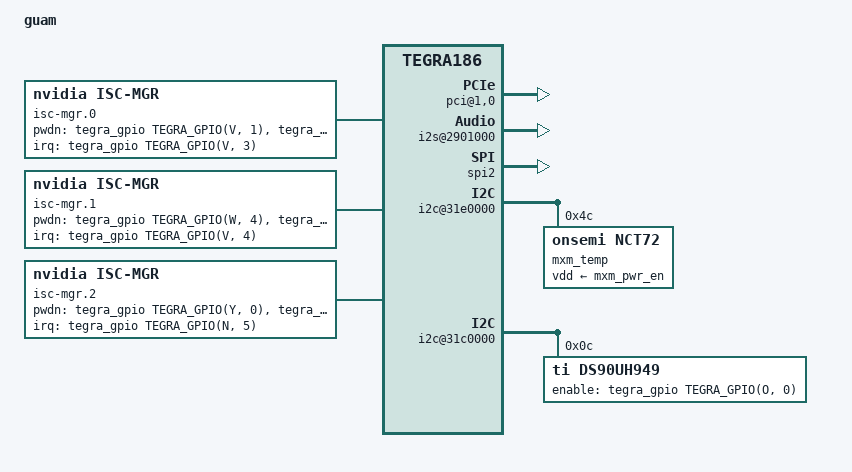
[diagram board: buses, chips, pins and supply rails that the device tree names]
/*
 * tegra186-priv-guam-a-base.dts: guam-a base dts
 * file
 *
 * Copyright (c) 2016-2017, NVIDIA CORPORATION.  All rights reserved.
 *
 * This program is free software; you can redistribute it and/or modify
 * it under the terms of the GNU General Public License as published by
 * the Free Software Foundation; version 2 of the License.
 *
 * This program is distributed in the hope that it will be useful, but WITHOUT
 * ANY WARRANTY; without even the implied warranty of MERCHANTABILITY or
 * FITNESS FOR A PARTICULAR PURPOSE.  See the GNU General Public License for
 * more details.
 */

#include "tegra186-platforms/tegra186-vcm31-fiji-common.dtsi"
#include "tegra186-platforms/tegra186-power-tree-guam-a.dtsi"

/ {
	nvidia,dtsfilename = __FILE__;
	nvidia,boardids = "guam-a:0000";
	nvidia,proc-boardid = "guam-a:0000";
	model = "guam";

	firmware {
		android {
			compatible = "android,firmware";
			hardware = "guam-a";
		};
	};


	/* dGPU support */
	pcie-controller@10003000 {
		pci@1,0 {
			status = "okay";
			nvidia,has-mxm-port;
			nvidia,pwr-gd-gpio =
				<&tegra_gpio TEGRA_GPIO(B, 6) 0>;
		};
		pcie_cool_dev: pcie-cool-dev {
			cooling-min-state = <0>;
			cooling-max-state = <1>;
			#cooling-cells = <2>;
		};
	};

	adma@2930000 {
		status = "okay";
		dma-channels = <10>;
	};

	ahub {
		status = "okay";
		arad@290e400 {
			status = "okay";
		};
	    i2s@2901000 {
	        status = "okay";
	    };
	    i2s@2901100 {
			status = "disabled";
		};
	    i2s@2901200 {
			status = "disabled";
		};
	    i2s@2901300 {
			status = "disabled";
		};
	    i2s@2901400 {
			status = "disabled";
		};
	    i2s@2901500 {
			status = "disabled";
		};
	};
	sound_ref {
		status = "okay";
		compatible = "nvidia,tegra-audio-t186ref-p2382";
		nvidia,model = "tegra186-snd-p2382";
		nvidia,num-clk = <8>;
		nvidia,clk-rates = < 248371200	/* PLLA_x11025_RATE */
				     11289600	/* AUD_MCLK_x11025_RATE */
				     49674240	/* PLLA_OUT0_x11025_RATE */
				     49674240	/* AHUB_x11025_RATE */
				     245760000  /* PLLA_x8000_RATE */
				     12288000	/* AUD_MCLK_x8000_RATE */
				     245760000	/* PLLA_OUT0_x8000_RATE */
				     49152000 >;/* AHUB_x8000_RATE */
		clocks =<&tegra_car TEGRA186_CLK_PLLP_OUT0>,
			<&tegra_car TEGRA186_CLK_PLLA>,
			<&tegra_car TEGRA186_CLK_PLL_A_OUT0>,
			<&tegra_car TEGRA186_CLK_AHUB>,
			<&tegra_car TEGRA186_CLK_CLK_M>,
			<&tegra_car TEGRA186_CLK_AUD_MCLK>;
		clock-names = "pll_p_out1", "pll_a", "pll_a_out0", "ahub", "clk_m",
			"extern1";
		resets = <&tegra_car TEGRA186_RESET_AUD_MCLK>;
		reset-names = "extern1_rst";
		nvidia,num-codec-link = <1>;
		nvidia,num-amx = <0>;
		nvidia,num-adx = <0>;
		nvidia,audio-routing =
			"Headphone-d", "d OUT";
		nvidia,xbar = <&tegra_axbar>;
		nvidia,dai-link-1 {
			link-name = "p2382-audio-dsp-tdm1-1";
			cpu-dai = <&tegra_i2s1>;
			codec-dai = <&spdif_dit0>;
			cpu-dai-name = "I2S1";
			codec-dai-name = "dit-hifi";
			tx-mask = <0xFF>;
			rx-mask = <0xFF>;
			format = "i2s";
			bitclock-slave;
			frame-slave;
			bitclock-noninversion;
			frame-noninversion;
			bit-format = "s16_le";
			bclk_ratio = <1>;
			srate = <44100>;
			num-channel = <2>;
			name-prefix = "d";
		};
	};
	adsp_audio {
		status = "disabled";
	};

	/* CSI-EF */
	isc-mgr.0 {
		compatible = "nvidia,isc-mgr";
		i2c-bus = <1>;
		csi-port = <4>;
		default-power-on;
		pwdn-gpios = < &tegra_gpio TEGRA_GPIO(V, 1) GPIO_ACTIVE_HIGH   /* QD1-PWR-DOWN */
			&tegra_gpio TEGRA_GPIO(I, 0) GPIO_ACTIVE_HIGH   /* PARK-MAIN-CAM-PWR-EN - TegraBall(PI.00) */
			&tegra_gpio TEGRA_GPIO(J, 6) GPIO_ACTIVE_HIGH   /* PARK-RR-CAM-PWR-EN - TegraBall(PJ.06) */
			&tegra_gpio TEGRA_GPIO(B, 4) GPIO_ACTIVE_HIGH   /* PARK-FE-CAM-PWR-EN - Tegra(PB.04)  */
			&tegra_gpio TEGRA_GPIO(Y, 1) GPIO_ACTIVE_HIGH   /* PARK-LR-CAM-PWR-EN - TegraBall(PY.01) */ >;
		runtime-pwrctrl-off;
		interrupt-parent = <&tegra_gpio>;
		interrupts = <TEGRA_GPIO(V, 3) 2>; /* QD1-LOCK : falling edge sensitive */
		status = "okay";
	};
	/* CSI-CD */
	isc-mgr.1 {
		compatible = "nvidia,isc-mgr";
		i2c-bus = <7>;
		csi-port = <2>;
		pwdn-gpios = < &tegra_gpio TEGRA_GPIO(W, 4) GPIO_ACTIVE_HIGH   /* QD2-PWR-DOWN */
			&tegra_gpio TEGRA_GPIO(Y, 5) GPIO_ACTIVE_HIGH   /* PARK-RB-CAM-PWR-EN - Tegra(PY.05) */
			&tegra_gpio TEGRA_GPIO(L, 6) GPIO_ACTIVE_HIGH   /* PARK-LB-CAM-PWR-EN - Tegra(PL.06) */
			&tegra_gpio TEGRA_GPIO(N, 0) GPIO_ACTIVE_HIGH   /* PARK-NAR-CAM-PWR-EN - Tegra(PN.00) */ >;
		default-power-on;
		runtime-pwrctrl-off;
		interrupt-parent = <&tegra_gpio>;
		interrupts = <TEGRA_GPIO(V, 4) 2>; /* QD2-LOCk : falling edge sensitive */
		status = "okay";
	};
	/* CSI-B */
	isc-mgr.2 {
		compatible = "nvidia,isc-mgr";
		i2c-bus = <2>;
		csi-port = <1>;
		default-power-on;
		pwdn-gpios = < &tegra_gpio TEGRA_GPIO(Y, 0) GPIO_ACTIVE_HIGH   /* DD1-PWR-DOWN */
			&tegra_gpio TEGRA_GPIO(I, 4) GPIO_ACTIVE_HIGH   /* PARK-BU-CAM-PWR-EN - TegraBall(PI.04) */
			&tegra_gpio TEGRA_GPIO(I, 6) GPIO_ACTIVE_HIGH   /* PARK-SC-CAM-PWR-EN - TegraBall(PI.06) */ >;
		runtime-pwrctrl-off;
		interrupt-parent = <&tegra_gpio>;
		interrupts = <TEGRA_GPIO(N, 5) 2>; /* DD1-LOCK : falling edge sensitive */
		status = "okay";
	};
	/*  Remove DSI display, disable hot-plug for hdmi1. hdmi1 is enabled only for I2C4 */
	host1x {
		sor{
			hdmi-display {
				disp-default-out {
					nvidia,out-flags = <TEGRA_DC_OUT_HOTPLUG_HIGH>;
					nvidia,out-hotplug-state = <1>; /*TEGRA_HPD_STATE_FORCE_ASSERT*/
				};
				display-timings {
					1920x1080-30 {
						clock-frequency = <70000000>;
						hactive = <1920>;
						vactive = <1080>;
						hfront-porch = <26>;
						hback-porch = <80>;
						hsync-len = <32>;
						vfront-porch = <9>;
						vback-porch = <26>;
						vsync-len = <10>;
						nvidia,h-ref-to-sync = <1>;
						nvidia,v-ref-to-sync = <1>;
					};
				};
			};
		};
		dpaux@15040000 {
			status = "okay";
			compatible = "nvidia,tegra186-dpaux1-padctl";
			pinctrl-names = "default";
			pinctrl-0 = <&dpaux_default>;
			dpaux_default: pinmux@0 {
				dpaux1_pins {
					pins = "dpaux1-1";
					function = "i2c";
				};
			};
		};
	};
	dpaux1 {
		status = "okay";
	};
spi2: spi@3230000 {
		status = "okay";
	};
	uarta: serial@3100000 {
		status = "disabled";
	};

	i2c@31e0000 {
		mxm_temp: tempsensor@4c {
			#thermal-sensor-cells = <0>;
			compatible = "onsemi,nct72";
			reg = <0x4c>;
			sensor-name = "tmp451-mxm";
			supported-hwrev = <1>;
			offset = <0>;
			conv-rate = <0x06>;
			extended-rage = <0>;
			vdd-supply = <&mxm_pwr_en>;
		};
	};
	i2c@31c0000 {
		ds90uh949@0c {
			compatible = "ti,ds90uh949";
			reg = <0x0C>;
			status = "okay";
			sor-instance = <0>;
			ti,enable-gpio = <&tegra_gpio TEGRA_GPIO(O, 0) 0>;
		};
	};
	thermal-zones {
		MXM_tegra {
			status = "okay";
			polling-delay = <1000>;
			polling-delay-passive = <1000>;
			thermal-sensors = <&mxm_temp 0>;

			thermal-zone-params {
				governor-name = "pid_thermal_gov";
			};
			trips {
				pcie_mxm: pcie-mxm@60000 {
					temperature = <(00250)>;
					hysteresis = <5000>;
					type = "active";
				};
			};

			cooling-maps {
				map_pcie_mxm {
					trip = <&pcie_mxm>;
					cooling-device = <&pcie_cool_dev 1 1>;
					cdev-type = "tegra-pcie";
				};
			};
		};
	};
};
